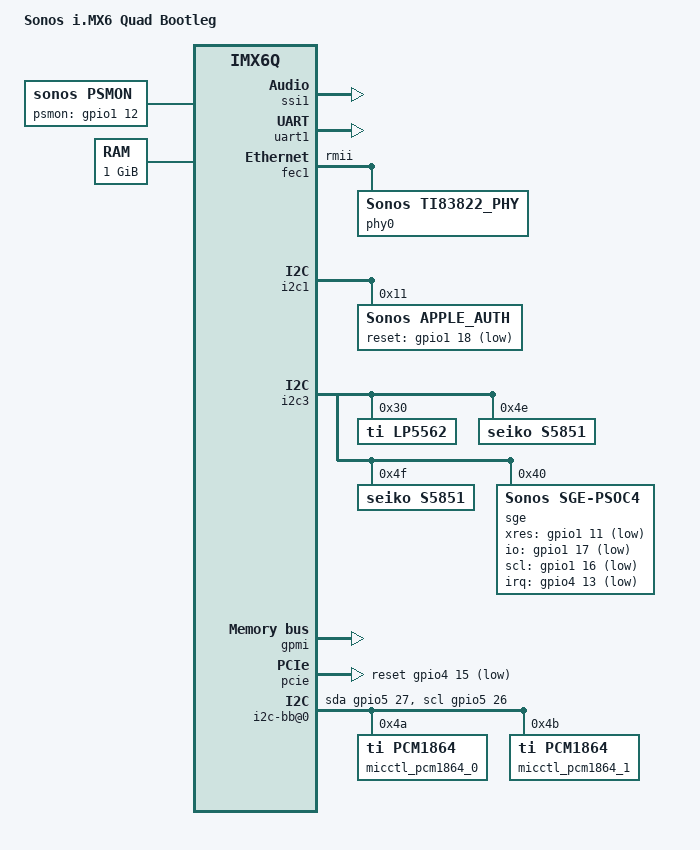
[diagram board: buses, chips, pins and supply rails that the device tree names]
/*
 * Sonos Bootleg DTB
 *
 * Sonos Bootleg specific changes to the generic imx6q dtb, which is
 * defined in imx6q.dtsi and imx6qdl.dtsi.
 */

/dts-v1/;

#include "imx6q.dtsi"
#include "dt-bindings/interrupt-controller/irq.h"
#include "sonos_platform.dtsi"

/ {
	#address-cells = <1>;
	#size-cells = <1>;
	model = "Sonos i.MX6 Quad Bootleg";
	compatible = "sonos,bootleg", "fsl,imx6q";

	sonos-platform {
		/* Sonos platform specific values for shared driver source & binaries */
		sonos-ampctl {
			/* Bootleg has one amp fault.  It has three control lines.
			 */
			status = "okay";
			amprail-adc-port = <1>;
			amprail-adc-scale = <8905>;

			sonos-ampfaults {
				num-faults = <0x01>;
				status = "okay";

				ampfault@0 {
					fault-gpio = <&gpio1 20 0>;
				} ;
			} ;

			sonos-ampctl-signals {
				num-ctl-signals = <3>;
				sonos-ampsignal@0 {		// DACRESET
					config = <1>;
					on-time = <4>;
					off-time = <4>;
					supports-off = <1>;
					active-low = <1>;
					sig-gpio = <&gpio1 21 0>;
				} ;
				sonos-ampsignal@1 {		// POWER
					on-time = <15>;
					off-time = <0>;
					supports-off = <1>;
					sig-gpio = <&gpio1 3 0>;
				} ;
				sonos-ampsignal@2 {		// AMP MUTE
					config = <1>;
					on-time = <4>;
					off-time = <1>;
					supports-off = <1>;
					sig-gpio = <&gpio1 4 0>;
				} ;
			} ;
		} ;

		misc-gpio {
			connect-button  = <&gpio1 5 0>;
		};

		simulated-buttons {
			/* event-sources are offsets from EVTSOURCE_BUTTON_PLAYPAUSE, some generate an event for more than one source */
			join {
				event-sources = <3>;
			};
		};

		thermal-mgmt {
			AMP {
				compatible = "seiko,s5851";
				fault-temperature = <95>;
				warn-temperature = <91>;
			};
			CPU {
				compatible = "seiko,s5851";
				fault-temperature = <95>;
				warn-temperature = <91>;
			};
		};
	};

	psmon {
		compatible = "sonos,psmon";
		psmon-gpio = <&gpio1 12 0>;
		trigger-edge = <IRQ_TYPE_EDGE_FALLING>;
	};

	memory {
		device_type = "memory";
		/* 1GB DDR at 256MB offset*/
		reg = <0x10000000 0x40000000>;
	};

	clocks {
		ckih1 {
			compatible = "fsl,imx-ckih1", "fixed-clock";
			clock-frequency = <66000000>;
		};
	};

	soc {
		busfreq {
			/* See imx6q.dtsi */
			compatible = "fsl,imx6_busfreq";
		};

		aips-bus@02000000 { /* AIPS1 */
			spba-bus@02000000 {
				esai: esai@02024000 {
					compatible = "fsl,imx6q-esai";
					dmas = <&sdma 24 21 0>, <&sdma 23 21 0>;
					dma-names = "tx", "rx";
					status = "okay";
					lla-mics {
						lla-type = <1>;
						frames-per-second = <44100>;
						channel-len = <4>;
						channel-mask = <0xf3>;
						channels-per-frame = <8>;
						frames-per-buffer = <128>;
						buffer-cnt = <64>;
						dividers = <0 0 1>;
						watermark-frames = <8>;
						tdm-master;
						status = "okay";
					};
					lla-dac {
						lla-type = <0>;
						frames-per-second = <44100>;
						channel-len = <4>;
						channel-mask = <0x3>;
						channels-per-frame = <2>;
						frames-per-buffer = <128>;
						buffer-cnt = <64>;
						dividers = <0 1 0>;
						watermark-frames = <8>;
						tdm-master;
						invert-fs;
						i2s-mode;
						nonzero-silence;
						status = "okay";
					};
				};

				ssi1: ssi@02028000 {
					dev-id = <0>;
					status = "okay";
					lla-line-in { /* Used on Diags builds only */
						lla-type = <4>;
						diags-only;
						frames-per-second = <44100>;
						channel-len = <4>;
						channel-mask = <0x3>;
						channels-per-frame = <2>;
						frames-per-buffer = <128>;
						buffer-cnt = <64>;
						watermark-words = <8>;
						dividers = <1 1 0>;
						i2s-mode;
						tdm-master;
						status = "okay";
					};
				};

				uart1: serial@02020000 {
					status = "okay";
				};
			};

			epit1: epit@020d0000 {
				compatible = "fsl,imx6q-epit";
				clocks = <&clks 216>, <&clks 0>, <&clks 63>, <&clks 2>, <&clks 1>;
				clock-names = "epit", "off", "per", "high", "low";
				dev-id = <0>;
				// This EPIT device serves as the LLA audio clock
				lla-clock;
				status = "okay";
			};

			src@020d8000 {
				compatible = "fsl,imx6q-src", "fsl,imx51-src", "syscon";
				status = "okay";
			};

			iomuxc: iomuxc@020e0000 {
				status = "disabled";
			};

			sdma: sdma@020ec000 {
				compatible = "fsl,imx6q-sdma";
				// FIXME: Encore DTB has the below line (enabled), not sure what it's for
				//~ gpr = <&gpr>;
			};

		};

		aips-bus@02100000 { /* AIPS2 */
			audmux: audmux@021d8000 {  /* Diags-only loopback test */
				status = "okay";
				lla-audmux1 {
					port-id = <1>;
					data-port = <3>;
					sync-tx-rx;
					status = "okay";
				};
				lla-audmux3 {
					port-id = <3>;
					data-port = <3>;
					clock-tx;
					clock-port = <1>;
					sync-tx-rx;
					status = "okay";
				};
			};

			crypto: caam@2100000 {
				status = "okay";
			};

			fec1: ethernet@02188000 {
				status = "okay";
				phy-mode = "rmii";
				fsl,num_tx_queues = <0x3>;
				fsl,num_rx_queues = <0x3>;

				phy0 {
					compatible = "Sonos,ti83822_phy";
					interrupts = <&gpio7 13 1>;
				};
			};

			i2c1: i2c@021a0000 {
				status = "okay";

				apple_auth@0 {
					compatible = "Sonos,apple_auth";
					reg = <0x11>;
					reset-gpio = <&gpio1 18 1>;
				};

			};

			i2c3: i2c@021a8000 {
				status = "okay";

				lp5562@0 {	// LED controller
					compatible = "ti,lp5562";
					reg = <0x30>;
				};
				s5851@0 {	// CPU thermal sensor - bottom of the board
					compatible = "seiko,s5851";
					reg = <0x4e>;
					device_type = "CPU";
				};
				s5851@1 {	// AMP thermal sensor - top of the board
					compatible = "seiko,s5851";
					reg = <0x4f>;
					device_type = "AMP";
				};
				sge@0 {  // Sigdetail Gesture Engine
					compatible = "Sonos,sge-psoc4";
					reg = <0x40>;
					xres-gpio = <&gpio1 11 1>;
					io-gpio   = <&gpio1 17 1>;
					scl-gpio  = <&gpio1 16 1>;
					irq-gpio  = <&gpio4 13 1>;
					zonea = "vol1";
					zoneb = "pp";
					zonec = "vol2";
					zonem = "mic";
					finger-threshold = <80>;
					noise-threshold = <40>;
					hysteresis = <5>;
					share-swd-uart = <0>;

					psoc-images {
						image@0 {
							model-num = <4146>;
							ident = <0xb1>;
							flash-rows = <512>;
							flash-row-size = <128>;
							flash-protection-size = <64>;
						};
						image@1 {
							model-num = <4245>;
							ident = <0xb2>;
							flash-rows = <256>;
							flash-row-size = <128>;
							flash-protection-size = <32>;
						};
					};
				};
			};
		};

                caam_secvio {
                        status = "disabled";
                };

                gpmi: gpmi-nand@00112000{
                        status = "okay";
                };

                pcie: pcie@0x01000000 {
                        compatible = "fsl,imx6q-pcie", "snps,dw-pcie";
			reset-gpio = <&gpio4 15 1>;
			status = "okay";
                };

		i2c-bb@0 {
			/* The Mic aggregator chips are accessed via bit-banged i2c */
			compatible = "i2c-gpio";
			gpios = <&gpio5 27 0 /* sda */
				 &gpio5 26 0 /* scl */
				>;
			/*i2c-gpio,sda-open-drain;*/
			/*i2c-gpio,scl-open-drain;*/
			i2c-gpio,delay-us = <2>;        /* ~100 kHz */
			#address-cells = <1>;
			#size-cells = <0>;

		micctl_pcm1864_0:pcm0@0 {	// Texas Instruments PCM1864
				compatible = "ti,pcm1864";
				dev-id = <0>;
				reg = <0x4a>;
			};

		micctl_pcm1864_1:pcm1@1 {	// Texas Instruments PCM1864
				compatible = "ti,pcm1864";
				dev-id = <1>;
				reg = <0x4b>;
			};
		};

	};

	micctl@1 {
		compatible = "sonos,micctl";

		micctl-device = <&micctl_pcm1864_0 &micctl_pcm1864_1>;
	};
};
